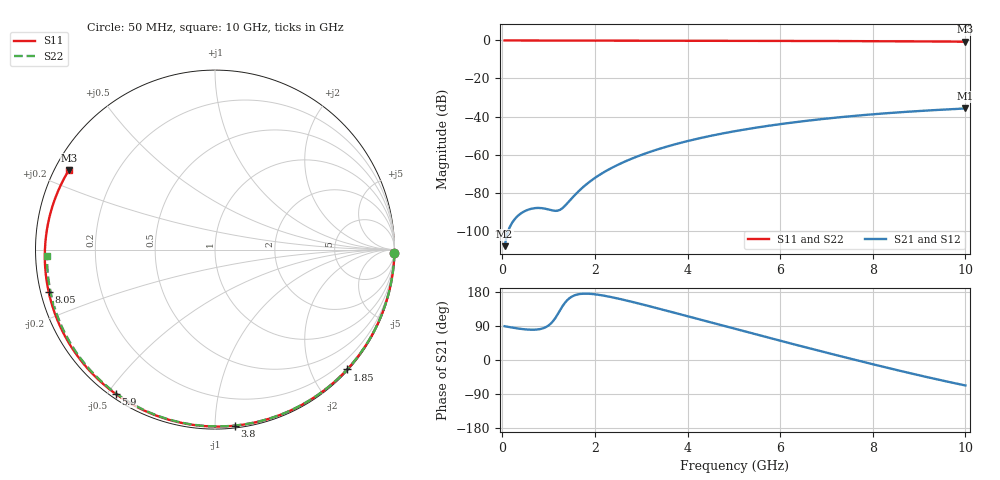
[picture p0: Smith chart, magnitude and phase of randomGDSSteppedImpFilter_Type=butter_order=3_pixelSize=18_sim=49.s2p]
! freq	dB(S11)	phase(S11)	dB(S12)	phase(S12)
!  dB(S21)	phase(S21)	dB(S22)	phase(S22)
!S-par simulation data
#  GHz  S  DB  R 50
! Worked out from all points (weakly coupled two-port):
!   200 points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, 50 MHz to 10 GHz, reference 50 ohm
!   highest |S21| = -35.75 dB at 10 GHz (marker M1); lowest = -108.2 dB at 50 MHz (marker M2)
!   lowest |S11| = -0.7 dB at 10 GHz (marker M3), VSWR 26.30, Z = 2.02 + j12.7 ohm
!   |S11| at or under -10 dB: nowhere
!   |S22| runs from -0.6 to 0.0 dB; largest |S21 - S12| = 0
!   S11 on the Smith chart (normalised r, x): 50 MHz: 0, -98; 1.85 GHz: 0.02, -2.59; 3.8 GHz: 0.01, -1.12; 5.9 GHz: 0.02, -0.53; 8.05 GHz: 0.02, -0.12; 10 GHz: 0.04, +0.25
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0.05  -0.00 -1.2  -108.17 89.1  -108.17 89.1  -0.00 -1.0
0.8  -0.02 -18.5  -88.09 81.2  -88.09 81.2  -0.02 -16.5
1.6  -0.05 -36.7  -80.44 172.2  -80.44 172.2  -0.04 -32.8
1.65  -0.05 -37.8  -79.23 173.6  -79.23 173.6  -0.04 -33.8
1.75  -0.05 -40.0  -77.00 174.9  -77.00 174.9  -0.05 -35.8
1.85  -0.05 -42.2  -74.98 174.9  -74.98 174.9  -0.05 -37.8
2.15  -0.06 -48.8  -69.93 170.7  -69.93 170.7  -0.06 -43.7
2.5  -0.07 -56.4  -65.33 162.1  -65.33 162.1  -0.06 -50.5
2.9  -0.08 -65.0  -61.14 150.5  -61.14 150.5  -0.08 -58.1
3.4  -0.10 -75.4  -56.94 134.9  -56.94 134.9  -0.09 -67.5
3.8  -0.11 -83.6  -54.15 122.0  -54.15 122.0  -0.10 -74.8
4.4  -0.13 -95.6  -50.67 102.4  -50.67 102.4  -0.12 -85.6
5.05  -0.16 -108.3  -47.59 81.3  -47.59 81.3  -0.15 -96.8
5.9  -0.21 -124.5  -44.34 54.0  -44.34 54.0  -0.19 -111.1
6.7  -0.27 -139.7  -41.89 28.8  -41.89 28.8  -0.24 -124.1
7.4  -0.33 -153.0  -40.11 7.1  -40.11 7.1  -0.29 -135.4
8.05  -0.39 -165.8  -38.73 -12.6  -38.73 -12.6  -0.35 -145.8
8.35  -0.42 -171.8  -38.17 -21.6  -38.17 -21.6  -0.38 -150.6
8.8  -0.48 178.8  -37.42 -34.7  -37.42 -34.7  -0.43 -157.9
9.2  -0.53 170.1  -36.81 -45.9  -36.81 -45.9  -0.47 -164.4
9.6  -0.59 161.0  -36.27 -56.8  -36.27 -56.8  -0.52 -171.1
10  -0.66 151.3  -35.75 -67.2  -35.75 -67.2  -0.57 -177.9
